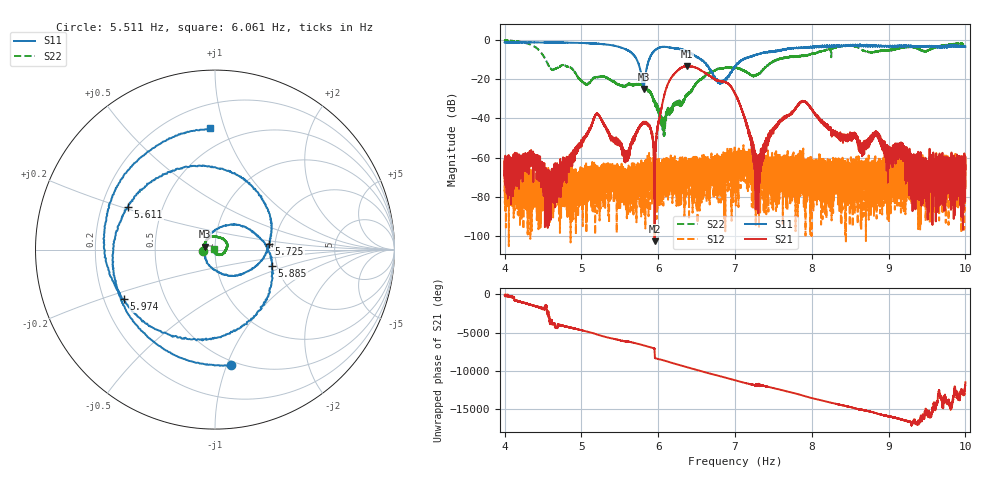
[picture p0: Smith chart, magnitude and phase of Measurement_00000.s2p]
!Created with skrf (http://scikit-rf.org).
# Hz S RI R 50.0
!freq ReS11 ImS11 ReS21 ImS21 ReS12 ImS12 ReS22 ImS22
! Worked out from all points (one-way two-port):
!   14001 points, 4 Hz to 10 Hz, reference 50 ohm
!   highest |S21| = -13.31 dB at 6.369 Hz (marker M1); lowest = -102.7 dB at 5.953 Hz (marker M2)
!   lowest |S11| = -24.9 dB at 5.81 Hz (marker M3), VSWR 1.12, Z = 44.8 + j1.48 ohm
!   |S11| at or under -10 dB: 5.722 Hz to 5.88 Hz (158 mHz wide, 2.72 % of centre); 6.563039 Hz to 6.564509 Hz (1.47 mHz wide, 0.0224 % of centre); 6.565 Hz to 7.103 Hz (538.5 mHz wide, 7.88 % of centre) (the widest 3 of 7)
!   |S22| runs from -48.9 to -0.2 dB; largest |S21 - S12| = 0.22
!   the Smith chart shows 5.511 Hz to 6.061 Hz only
!   S11 on the Smith chart (normalised r, x): 5.511 Hz: 0.46, -1.03; 5.611 Hz: 0.31, +0.21; 5.725 Hz: 1.86, +0.13; 5.885 Hz: 1.88, -0.39; 5.974 Hz: 0.28, -0.23; 6.061 Hz: 0.36, +0.89
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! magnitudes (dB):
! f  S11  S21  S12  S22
! 4 Hz  -1.1  -61.1  -76.5  -0.3
! 4.354 Hz  -1.1  -61.5  -68.6  -2.6
! 4.576 Hz  -1.2  -68.3  -71.5  -13.3
! 5 Hz  -1.5  -51.9  -70.2  -20.8
! 5.206 Hz  -1.8  -37.4  -68.0  -18.8
! 5.511 Hz  -3.8  -52.7  -65.0  -23.2
! 5.611 Hz  -5.4  -57.0  -68.2  -22.5
! 5.725 Hz  -10.4  -46.1  -72.0  -22.7
! 5.81 Hz  -24.9  -42.7  -68.0  -23.9
! 5.885 Hz  -9.6  -43.4  -66.9  -26.2
! 5.953 Hz  -5.4  -102.7  -74.3  -31.6
! 5.974 Hz  -4.8  -50.1  -68.3  -33.9
! 6 Hz  -4.1  -42.4  -74.1  -34.7
! 6.061 Hz  -3.4  -31.2  -64.9  -46.4
! 6.369 Hz  -5.6  -13.3  -69.8  -28.0
! 6.802 Hz  -21.4  -20.9  -62.7  -14.5
! 7 Hz  -13.4  -27.1  -61.6  -13.9
! 7.296 Hz  -7.2  -62.8  -73.8  -17.5
! 7.585 Hz  -5.3  -41.6  -61.5  -9.6
! 8 Hz  -3.7  -35.4  -68.9  -6.9
! 9 Hz  -3.2  -58.8  -67.3  -5.0
! 10 Hz  -3.4  -65.8  -63.0  -3.1
